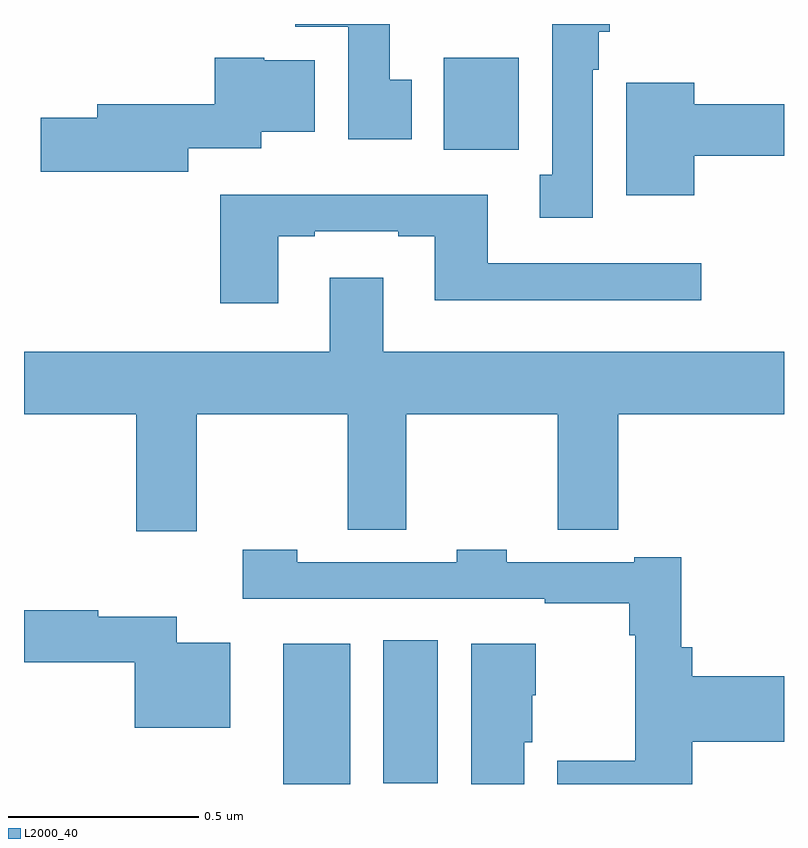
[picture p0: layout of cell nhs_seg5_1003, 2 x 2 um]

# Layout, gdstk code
import gdstk
lib = gdstk.Library(unit=1e-6, precision=1e-09)
def R(c, l, rs):  # rectangles x0, y0, x1, y1
    for r in rs: c.add(gdstk.rectangle(r[:2], r[2:], *l))
def P(c, l, *ps):  # polygons
    for p in ps: c.add(gdstk.Polygon(p, *l))
L2000_40 = (2000, 40)

nhs_seg5_1003 = lib.new_cell('nhs_seg5_1003')
R(nhs_seg5_1003, L2000_40, [(124.682,843.799,124.858,844.168), (124.946,843.801,125.089,844.177), (125.105,845.468,125.302,845.71)])
P(nhs_seg5_1003, L2000_40, [(125.497,845.678),(125.512,845.678),(125.512,845.778),(125.542,845.778),(125.542,845.799),(125.073,845.799),(125.073,845.798),(125.39,845.798),(125.39,845.402),(125.357,845.402),(125.357,845.289),(125.497,845.289)],
  [(125.02,845.652),(124.963,845.652),(124.963,845.799),(124.714,845.799),(124.714,845.792),(124.853,845.792),(124.853,845.496),(125.02,845.496)],
  [(124.432,845.472),(124.624,845.472),(124.624,845.516),(124.765,845.516),(124.765,845.704),(124.632,845.704),(124.632,845.71),(124.502,845.71),(124.502,845.588),(124.193,845.588),(124.193,845.552),(124.044,845.552),(124.044,845.41),(124.432,845.41)],
  [(125.764,845.452),(126,845.452),(126,845.588),(125.764,845.588),(125.764,845.644),(125.585,845.644),(125.585,845.348),(125.764,845.348)],
  [(124.669,845.241),(124.765,845.241),(124.765,845.253),(124.985,845.253),(124.985,845.241),(125.081,845.241),(125.081,845.072),(125.782,845.072),(125.782,845.169),(125.221,845.169),(125.221,845.35),(124.517,845.35),(124.517,845.064),(124.669,845.064)],
  [(124.455,844.772),(124.852,844.772),(124.852,844.468),(125.006,844.468),(125.006,844.772),(125.404,844.772),(125.404,844.468),(125.564,844.468),(125.564,844.772),(126,844.772),(126,844.936),(124.945,844.936),(124.945,845.131),(124.805,845.131),(124.805,844.936),(124,844.936),(124,844.772),(124.295,844.772),(124.295,844.464),(124.455,844.464)],
  [(125.759,843.91),(126,843.91),(126,844.082),(125.759,844.082),(125.759,844.159),(125.729,844.159),(125.729,844.396),(125.606,844.396),(125.606,844.383),(125.271,844.383),(125.271,844.416),(125.139,844.416),(125.139,844.383),(124.719,844.383),(124.719,844.416),(124.575,844.416),(124.575,844.287),(125.371,844.287),(125.371,844.275),(125.593,844.275),(125.593,844.19),(125.608,844.19),(125.608,843.86),(125.403,843.86),(125.403,843.799),(125.759,843.799)],
  [(124.543,844.171),(124.402,844.171),(124.402,844.239),(124.196,844.239),(124.196,844.256),(124,844.256),(124,844.12),(124.292,844.12),(124.292,843.947),(124.543,843.947)],
  [(125.317,843.909),(125.338,843.909),(125.338,844.032),(125.347,844.032),(125.347,844.168),(125.177,844.168),(125.177,843.799),(125.317,843.799)])

lib.write_gds('nhs_seg5_1003.gds')
